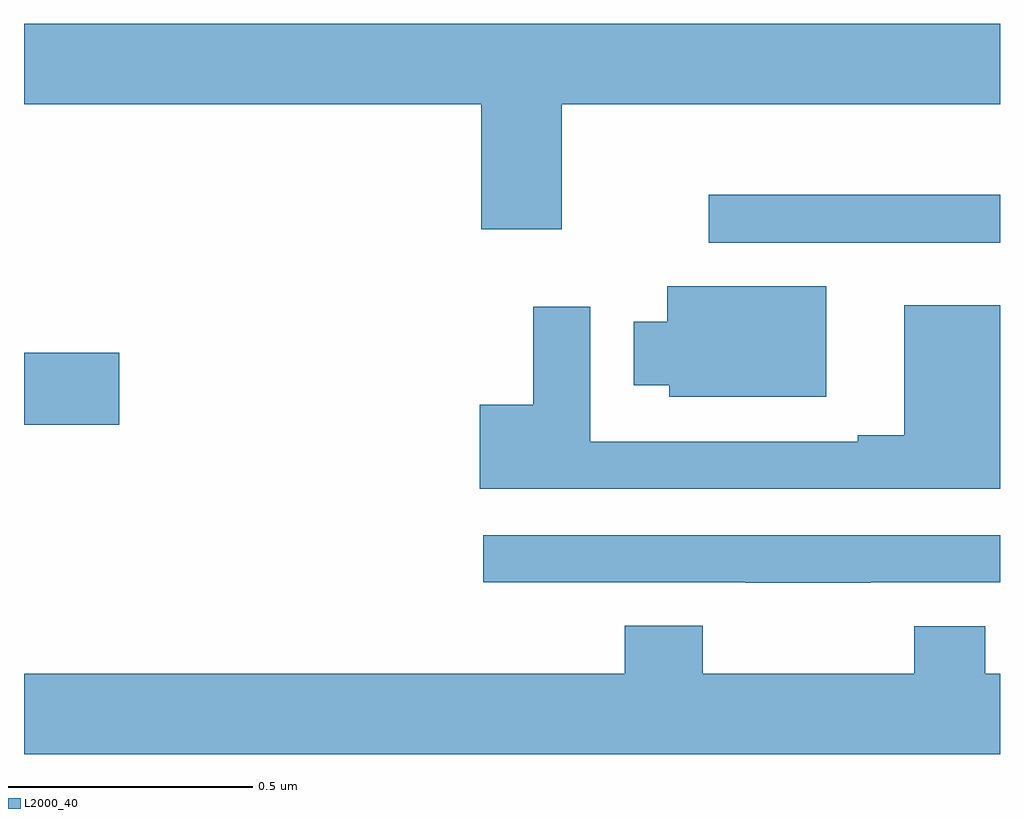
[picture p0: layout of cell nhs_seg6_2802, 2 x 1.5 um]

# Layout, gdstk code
import gdstk
lib = gdstk.Library(unit=1e-6, precision=1e-09)
def R(c, l, rs):  # rectangles x0, y0, x1, y1
    for r in rs: c.add(gdstk.rectangle(r[:2], r[2:], *l))
def P(c, l, *ps):  # polygons
    for p in ps: c.add(gdstk.Polygon(p, *l))
L2000_40 = (2000, 40)

nhs_seg6_2802 = lib.new_cell('nhs_seg6_2802')
R(nhs_seg6_2802, L2000_40, [(148,957.335,148.195,957.482), (149.403,957.708,150,957.806)])
P(nhs_seg6_2802, L2000_40, [(149.102,957.992),(150,957.992),(150,958.156),(148,958.156),(148,957.992),(148.937,957.992),(148.937,957.735),(149.102,957.735)],
  [(149.644,957.619),(149.318,957.619),(149.318,957.546),(149.249,957.546),(149.249,957.416),(149.322,957.416),(149.322,957.392),(149.644,957.392)],
  [(150,957.58),(149.804,957.58),(149.804,957.313),(149.708,957.313),(149.708,957.3),(149.16,957.3),(149.16,957.577),(149.044,957.577),(149.044,957.376),(148.934,957.376),(148.934,957.204),(150,957.204)],
  [(149.735,957.012),(150,957.012),(150,957.108),(148.941,957.108),(148.941,957.012),(149.479,957.012),(149.479,957.011),(149.735,957.011)],
  [(150,956.824),(149.97,956.824),(149.97,956.922),(149.824,956.922),(149.824,956.824),(149.391,956.824),(149.391,956.923),(149.231,956.923),(149.231,956.824),(148,956.824),(148,956.66),(150,956.66)])

lib.write_gds('nhs_seg6_2802.gds')
